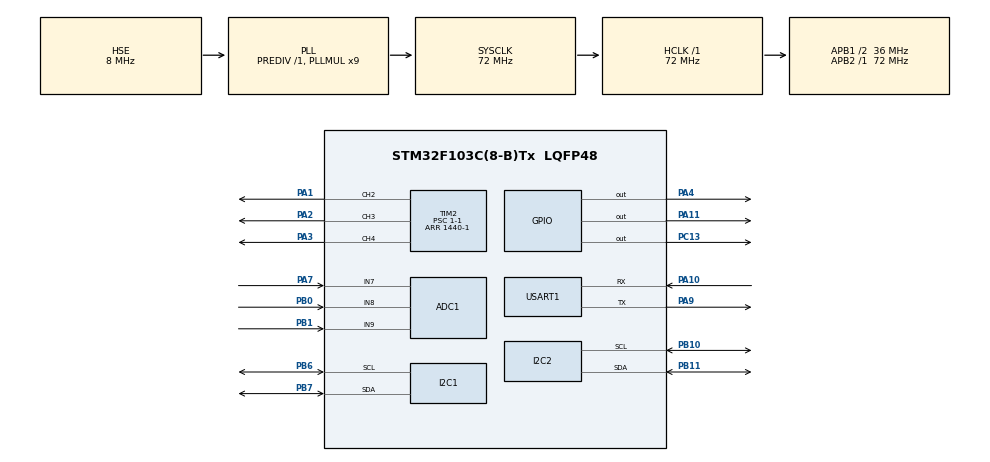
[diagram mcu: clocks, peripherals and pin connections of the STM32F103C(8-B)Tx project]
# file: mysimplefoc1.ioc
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ADC1.Channel-0\#ChannelRegularConversion=ADC_CHANNEL_7
ADC1.NbrOfConversionFlag=1
ADC1.Rank-0\#ChannelRegularConversion=1
ADC1.SamplingTime-0\#ChannelRegularConversion=ADC_SAMPLETIME_1CYCLE_5
ADC1.master=1
Mcu.Family=STM32F1
Mcu.Name=STM32F103C(8-B)Tx
Mcu.Package=LQFP48
NVIC.I2C1_ER_IRQn=true\:0\:0\:false\:false\:true\:true\:true\:true
NVIC.I2C1_EV_IRQn=true\:0\:0\:false\:false\:true\:true\:true\:true
NVIC.PriorityGroup=NVIC_PRIORITYGROUP_4
NVIC.TIM2_IRQn=true\:0\:0\:false\:false\:true\:true\:true\:true
NVIC.USART1_IRQn=true\:0\:0\:false\:false\:true\:true\:true\:true
PA1.Signal=S_TIM2_CH2
PA10.Mode=Asynchronous
PA10.Signal=USART1_RX
PA11.Signal=GPIO_Output
PA13.Mode=Serial_Wire
PA13.Signal=SYS_JTMS-SWDIO
PA14.Mode=Serial_Wire
PA14.Signal=SYS_JTCK-SWCLK
PA2.Signal=S_TIM2_CH3
PA3.Signal=S_TIM2_CH4
PA4.Signal=GPIO_Output
PA7.Signal=ADCx_IN7
PA9.Mode=Asynchronous
PA9.Signal=USART1_TX
PB0.Signal=ADCx_IN8
PB1.Signal=ADCx_IN9
PB10.Mode=I2C
PB10.Signal=I2C2_SCL
PB11.Mode=I2C
PB11.Signal=I2C2_SDA
PB6.Mode=I2C
PB6.Signal=I2C1_SCL
PB7.Mode=I2C
PB7.Signal=I2C1_SDA
PC13-TAMPER-RTC.Signal=GPIO_Output
PD0-OSC_IN.Mode=HSE-External-Oscillator
PD0-OSC_IN.Signal=RCC_OSC_IN
PD1-OSC_OUT.Mode=HSE-External-Oscillator
PD1-OSC_OUT.Signal=RCC_OSC_OUT
ProjectManager.HeapSize=0x200
ProjectManager.StackSize=0x400
ProjectManager.TargetToolchain=MDK-ARM V5.32
RCC.ADCPresc=RCC_ADCPCLK2_DIV8
RCC.AHBFreq_Value=72000000
RCC.APB1CLKDivider=RCC_HCLK_DIV2
RCC.APB1Freq_Value=36000000
RCC.APB1TimFreq_Value=72000000
RCC.APB2Freq_Value=72000000
RCC.APB2TimFreq_Value=72000000
RCC.HCLKFreq_Value=72000000
RCC.PLLMUL=RCC_PLL_MUL9
RCC.PLLSourceVirtual=RCC_PLLSOURCE_HSE
RCC.SYSCLKFreq_VALUE=72000000
RCC.SYSCLKSource=RCC_SYSCLKSOURCE_PLLCLK
RCC.USBFreq_Value=72000000
SH.ADCx_IN7.0=ADC1_IN7,IN7
SH.ADCx_IN8.0=ADC1_IN8,IN8
SH.ADCx_IN9.0=ADC1_IN9,IN9
SH.S_TIM2_CH2.0=TIM2_CH2,PWM Generation2 CH2
SH.S_TIM2_CH3.0=TIM2_CH3,PWM Generation3 CH3
SH.S_TIM2_CH4.0=TIM2_CH4,PWM Generation4 CH4
TIM2.AutoReloadPreload=TIM_AUTORELOAD_PRELOAD_ENABLE
TIM2.Channel-PWM\ Generation2\ CH2=TIM_CHANNEL_2
TIM2.Channel-PWM\ Generation3\ CH3=TIM_CHANNEL_3
TIM2.Channel-PWM\ Generation4\ CH4=TIM_CHANNEL_4
TIM2.Period=1440-1
TIM2.Prescaler=1-1
USART1.VirtualMode=VM_ASYNC
VP_TIM2_VS_ClockSourceINT.Mode=Internal
board=custom

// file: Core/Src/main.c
/* USER CODE BEGIN Header */
/**
  ******************************************************************************
  * @file           : main.c
  * @brief          : Main program body
  ******************************************************************************
  * @attention
  *
  * Copyright (c) 2024 STMicroelectronics.
  * All rights reserved.
  *
  * This software is licensed under terms that can be found in the LICENSE file
  * in the root directory of this software component.
  * If no LICENSE file comes with this software, it is provided AS-IS.
  *
  ******************************************************************************
  */
/* USER CODE END Header */
#include "main.h"
#include "adc.h"
#include "i2c.h"
#include "tim.h"
#include "usart.h"
#include "gpio.h"

/* USER CODE BEGIN Includes */

#include "MyProject.h"
/* USER CODE END Includes */

void SystemClock_Config(void);

/* USER CODE BEGIN 0 */
char message[64]="";
int fputc(int ch,FILE *f)
{
    HAL_UART_Transmit(&huart1,(unsigned char *)&ch,1,1);
    return ch;
}
float target=0;
uint8_t  RecieveBuffer[1]={0};//????????
//HAL_UART_Receive_IT(&huart1, (uint8_t *)RecieveBuffer, 1);
uint8_t  CO2Buffer[12];//????????
uint8_t  RxLine=0; //????????
uint8_t errorBuffer[]="\r\nerror\r\n"; //????
/**
 * @brief ???????
 * @param  ???
 * @retval void
 * @author smart_mode
 * @Time 2021?11?21?
*/
void HAL_UART_RxCpltCallback(UART_HandleTypeDef *huart)
{
	UNUSED(huart);
	RxLine++;
	CO2Buffer[RxLine-1]=RecieveBuffer[0];
	if (RxLine>12) //?????????,?????????????
	{
		RxLine=0;
		memset(CO2Buffer,0,sizeof(CO2Buffer));
		HAL_UART_Transmit_IT(&huart1, (uint8_t *)errorBuffer,sizeof(errorBuffer));
	}
	if (RecieveBuffer[0]==0x0A)  //???????,????????
	{
		switch(CO2Buffer[0])
		{
			case 'H':
				printf("Hello World!\r\n");
				break;
			case 'T':   //T6.28
				target=atof((const char *)(CO2Buffer+1));
				printf("RX=%.4f\r\n", target);
				break;
		}
		//HAL_UART_Transmit_IT(&huart1, (uint8_t *)CO2Buffer,RxLine);  //??????????,????????
		RxLine=0;
	}
/*switch(RecieveBuffer[0])
		{
			case 'H':
				printf("Hello World!\r\n");
				break;
			case 'T':   //T6.28
				target=atof((const char *)(RecieveBuffer+1));
				printf("RX=%.4f\r\n", target);
				break;
		}*/
	RecieveBuffer[0]=0;
	HAL_UART_Receive_IT(&huart1, (uint8_t *)RecieveBuffer, 1);

	//??????????
}

void systick_CountMode(void)
{
	SysTick->LOAD = 0xFFFFFF-1;      //set reload register
  SysTick->VAL  = 0;
  SysTick->CTRL = SysTick_CTRL_ENABLE_Msk; //Enable SysTick Timer
}
/* USER CODE END 0 */

int main(void)
{

  /* MCU Configuration--------------------------------------------------------*/

  /* Reset of all peripherals, Initializes the Flash interface and the Systick. */
  HAL_Init();

  /* Configure the system clock */
  SystemClock_Config();

  /* Initialize all configured peripherals */
  MX_GPIO_Init();
  MX_USART1_UART_Init();
  MX_ADC1_Init();
  MX_I2C1_Init();
  MX_I2C2_Init();
  MX_TIM2_Init();
  /* USER CODE BEGIN 2 */
HAL_UART_Receive_IT(&huart1, (uint8_t *)RecieveBuffer, 1);
HAL_TIM_PWM_Start(&htim2,TIM_CHANNEL_2);
HAL_TIM_PWM_Start(&htim2,TIM_CHANNEL_3);
HAL_TIM_PWM_Start(&htim2,TIM_CHANNEL_4);
HAL_GPIO_WritePin(GPIOA, GPIO_PIN_4, GPIO_PIN_SET);
//HAL_TIM_Base_Init(&htim1);

HAL_Delay(1000);
voltage_power_supply=12;   //V
	voltage_limit=2.5;         //V,??????12/1.732=6.9??????????????0.5-1;?????????????1-3
	velocity_limit=20;         //rad/s angleOpenloop() use it
	controller=Type_velocity_openloop;  //Type_angle_openloop;  //
	pole_pairs=7;              //???

	M1_Enable;
  printf("Motor ready.\r\n");
	systick_CountMode();
	target = 0; 	//????6.28rad/s?????(1?/?)

  /* USER CODE END 2 */

  /* Infinite loop */
  /* USER CODE BEGIN WHILE */
  while (1)
  {
		HAL_GPIO_WritePin(GPIOC, GPIO_PIN_13, GPIO_PIN_SET);
		move(target);
		//	__HAL_TIM_SetCompare(&htim2, TIM_CHANNEL_2, 0.5*PWM_Period);
	//__HAL_TIM_SetCompare(&htim2, TIM_CHANNEL_3, 0.5*PWM_Period);
	//__HAL_TIM_SetCompare(&htim2, TIM_CHANNEL_4, 0.5*PWM_Period);

		//float angle=GetAngle_NoTrack();
		//sprintf(message,"angle=%.2f \r\n",angle);
		//HAL_UART_Transmit(&huart1, (uint8_t *)message, strlen(message),HAL_MAX_DELAY);
		//__HAL_TIM_SetCompare(&htim2, TIM_CHANNEL_2, 20);
		//printf("���\r\n");
		//printf("%.4f\r\n", target);
		//velocityopenloop(50);
		//HAL_Delay(1);
    /* USER CODE END WHILE */

  }
}

void SystemClock_Config(void)
{
  RCC_OscInitTypeDef RCC_OscInitStruct = {0};
  RCC_ClkInitTypeDef RCC_ClkInitStruct = {0};
  RCC_PeriphCLKInitTypeDef PeriphClkInit = {0};

  /** Initializes the RCC Oscillators according to the specified parameters
  * in the RCC_OscInitTypeDef structure.
  */
  RCC_OscInitStruct.OscillatorType = RCC_OSCILLATORTYPE_HSE;
  RCC_OscInitStruct.HSEState = RCC_HSE_ON;
  RCC_OscInitStruct.HSEPredivValue = RCC_HSE_PREDIV_DIV1;
  RCC_OscInitStruct.HSIState = RCC_HSI_ON;
  RCC_OscInitStruct.PLL.PLLState = RCC_PLL_ON;
  RCC_OscInitStruct.PLL.PLLSource = RCC_PLLSOURCE_HSE;
  RCC_OscInitStruct.PLL.PLLMUL = RCC_PLL_MUL9;
  if (HAL_RCC_OscConfig(&RCC_OscInitStruct) != HAL_OK)
  {
    Error_Handler();
  }

  /** Initializes the CPU, AHB and APB buses clocks
  */
  RCC_ClkInitStruct.ClockType = RCC_CLOCKTYPE_HCLK|RCC_CLOCKTYPE_SYSCLK
                              |RCC_CLOCKTYPE_PCLK1|RCC_CLOCKTYPE_PCLK2;
  RCC_ClkInitStruct.SYSCLKSource = RCC_SYSCLKSOURCE_PLLCLK;
  RCC_ClkInitStruct.AHBCLKDivider = RCC_SYSCLK_DIV1;
  RCC_ClkInitStruct.APB1CLKDivider = RCC_HCLK_DIV2;
  RCC_ClkInitStruct.APB2CLKDivider = RCC_HCLK_DIV1;

  if (HAL_RCC_ClockConfig(&RCC_ClkInitStruct, FLASH_LATENCY_2) != HAL_OK)
  {
    Error_Handler();
  }
  PeriphClkInit.PeriphClockSelection = RCC_PERIPHCLK_ADC;
  PeriphClkInit.AdcClockSelection = RCC_ADCPCLK2_DIV8;
  if (HAL_RCCEx_PeriphCLKConfig(&PeriphClkInit) != HAL_OK)
  {
    Error_Handler();
  }
}

void Error_Handler(void)
{
  __disable_irq();
  while (1)
  {
  }
}
